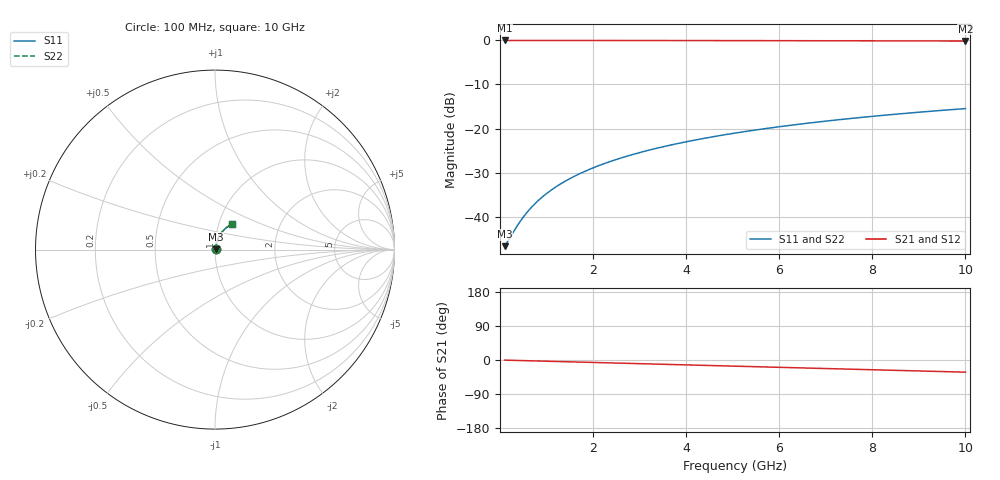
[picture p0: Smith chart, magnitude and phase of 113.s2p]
# Hz S RI R 50.00
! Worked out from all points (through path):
!   100 points, 100 MHz to 10 GHz, reference 50 ohm
!   highest |S21| = -0.04 dB at 100 MHz (marker M1); lowest = -0.2 dB at 10 GHz (marker M2)
!   group delay of S21, straight-line fit = 8.92 ps
!   lowest |S11| = -46.6 dB at 100 MHz (marker M3), VSWR 1.01, Z = 50.4 + j0.178 ohm
!   |S11| at or under -10 dB: start of sweep to end of sweep
!   |S22| runs from -46.6 to -15.5 dB; largest |S21 - S12| = 0
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1e8  0.00434 0.00177  0.9957 -0.0056  0.9957 -0.0056  0.00434 0.00177
2e8  0.00439 0.00353  0.9956 -0.0112  0.9956 -0.0112  0.00439 0.00353
4e8  0.00455 0.00706  0.9953 -0.0224  0.9953 -0.0224  0.00455 0.00706
5e8  0.00465 0.00882  0.9951 -0.028  0.9951 -0.028  0.00465 0.00882
6e8  0.00477 0.0106  0.9949 -0.0336  0.9949 -0.0336  0.00477 0.0106
7e8  0.00491 0.0123  0.9947 -0.0392  0.9947 -0.0392  0.00491 0.0123
8e8  0.00507 0.0141  0.9944 -0.0448  0.9944 -0.0448  0.00507 0.0141
1e9  0.00544 0.0176  0.9938 -0.056  0.9938 -0.056  0.00544 0.0176
1.2e9  0.0059 0.0211  0.993 -0.0672  0.993 -0.0672  0.0059 0.0211
1.5e9  0.00672 0.0263  0.9916 -0.0839  0.9916 -0.0839  0.00672 0.0263
1.8e9  0.00771 0.0315  0.9898 -0.1006  0.9898 -0.1006  0.00771 0.0315
2.1e9  0.00888 0.0367  0.9878 -0.1173  0.9878 -0.1173  0.00888 0.0367
2.5e9  0.0107 0.0435  0.9846 -0.1395  0.9846 -0.1395  0.0107 0.0435
2.9e9  0.0128 0.0502  0.9808 -0.1615  0.9808 -0.1615  0.0128 0.0502
3.4e9  0.0159 0.0585  0.9754 -0.1889  0.9754 -0.1889  0.0159 0.0585
4.2e9  0.0218 0.0712  0.965 -0.2323  0.965 -0.2323  0.0218 0.0712
5.1e9  0.0297 0.0849  0.9507 -0.2804  0.9507 -0.2804  0.0297 0.0849
5.9e9  0.0379 0.0963  0.936 -0.3223  0.936 -0.3223  0.0379 0.0963
6.7e9  0.047 0.1069  0.9192 -0.3633  0.9192 -0.3633  0.047 0.1069
7.5e9  0.0571 0.1166  0.9006 -0.4033  0.9006 -0.4033  0.0571 0.1166
8.4e9  0.0693 0.1264  0.8774 -0.447  0.8774 -0.447  0.0693 0.1264
1e10  0.0932 0.1405  0.831 -0.521  0.831 -0.521  0.0932 0.1405
